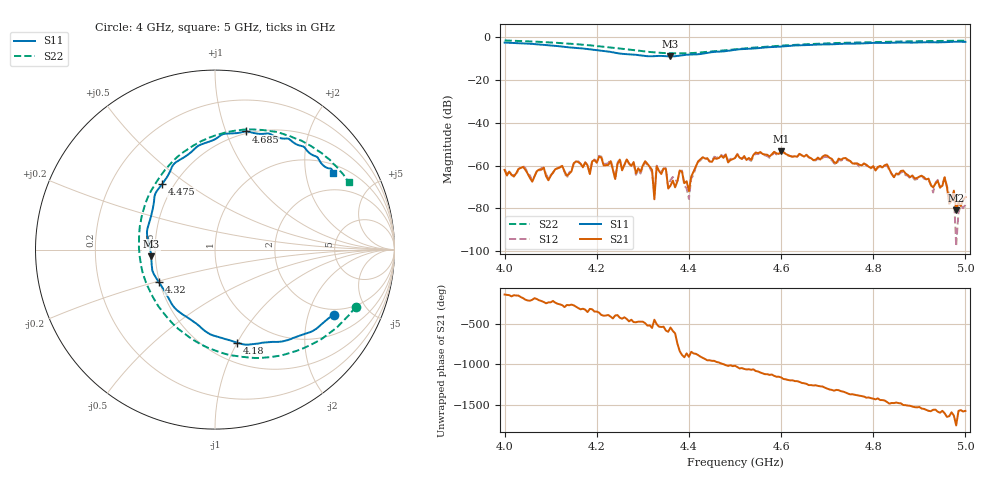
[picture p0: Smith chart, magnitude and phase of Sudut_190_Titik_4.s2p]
# Hz S RI R 50
! CMT, C1220, 16058040, 17.2.0/1
! Date: 15/08/2018 12:30:25
! Data: Format (Calibration Info)
! Freq  S11: Re/Im (F2)  S21: Re/Im (F2)  S12: Re/Im (F2)  S22: Re/Im (F2)
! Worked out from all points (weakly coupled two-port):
!   201 points, 4 GHz to 5 GHz, reference 50 ohm
!   highest |S21| = -53.21 dB at 4.6 GHz (marker M1); lowest = -80.9 dB at 4.98 GHz (marker M2)
!   lowest |S11| = -8.9 dB at 4.36 GHz (marker M3), VSWR 2.11, Z = 23.7 - j2.07 ohm
!   |S11| at or under -10 dB: nowhere
!   |S22| runs from -7.5 to -1.5 dB; largest |S21 - S12| = 0.00022
!   S11 on the Smith chart (normalised r, x): 4 GHz: 1.75, -2.94; 4.18 GHz: 0.69, -1.00; 4.32 GHz: 0.49, -0.20; 4.475 GHz: 0.43, +0.41; 4.685 GHz: 0.48, +1.18; 5 GHz: 1.28, +2.85
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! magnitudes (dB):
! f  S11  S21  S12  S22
! 4 GHz  -2.5  -62.0  -61.7  -1.5
! 4.17 GHz  -5.2  -60.8  -60.8  -3.4
! 4.18 GHz  -5.5  -59.9  -59.6  -3.6
! 4.32 GHz  -8.8  -62.0  -63.1  -6.9
! 4.325 GHz  -8.8  -75.7  -73.0  -7.0
! 4.33 GHz  -8.7  -60.3  -60.0  -7.1
! 4.335 GHz  -8.7  -62.4  -62.2  -7.2
! 4.36 GHz  -8.9  -69.4  -66.6  -7.5
! 4.385 GHz  -8.4  -62.8  -62.2  -7.5
! 4.4 GHz  -8.1  -71.9  -75.6  -7.4
! 4.42 GHz  -7.9  -58.0  -58.3  -7.2
! 4.475 GHz  -6.6  -56.3  -55.7  -6.1
! 4.5 GHz  -5.8  -56.4  -56.4  -5.6
! 4.6 GHz  -4.3  -53.2  -53.2  -3.9
! 4.67 GHz  -3.5  -57.4  -57.5  -3.1
! 4.685 GHz  -3.3  -57.1  -57.5  -3.0
! 4.835 GHz  -2.6  -61.7  -62.1  -2.0
! 4.93 GHz  -2.3  -70.2  -72.6  -1.7
! 4.955 GHz  -2.3  -65.4  -65.4  -1.7
! 4.965 GHz  -2.2  -77.8  -73.7  -1.6
! 4.98 GHz  -2.1  -80.9  -97.6  -1.6
! 5 GHz  -2.1  -74.7  -78.1  -1.6
